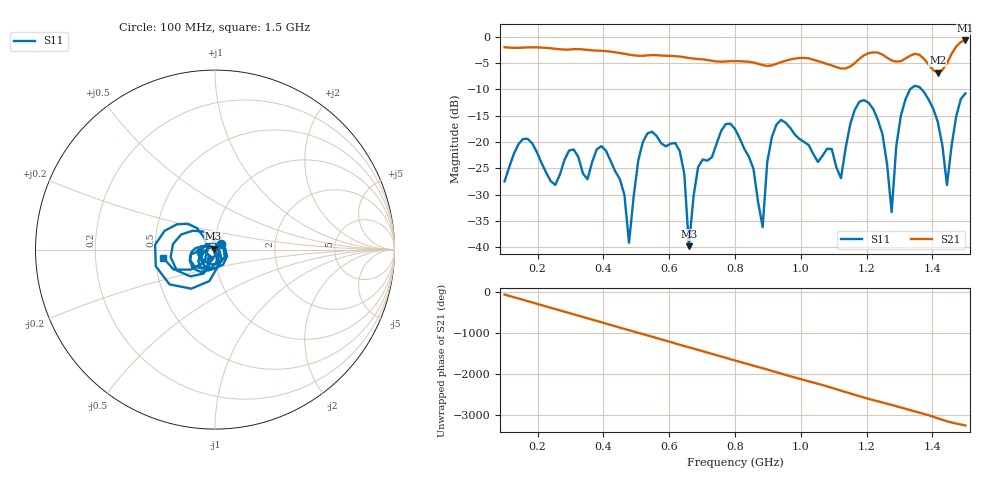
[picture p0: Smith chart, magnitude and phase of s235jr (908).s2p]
! NanoVNA-App
! Date: 2025-09-25 15:11:14
! Start: 100MHz Stop: 1,5GHz Points: 101
! S-Parameter data: F S11 S21 S12 S22
# Hz S RI R 50
!  Frequency  S11_Real  S11_Imag  S21_Real  S21_Imag  S12_Real  S12_Imag  S22_Real  S22_Imag
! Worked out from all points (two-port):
!   101 points, 100 MHz to 1.5 GHz, reference 50 ohm
!   highest |S21| = -0.68 dB at 1.5 GHz (marker M1); lowest = -6.8 dB at 1.416 GHz (marker M2)
!   |S21| within 3 dB of the highest: start of sweep to 620.5 MHz; 1.188 GHz to 1.255 GHz (67.06 MHz wide, 5.49 % of centre) (the widest 2 of 4)
!   lowest |S11| = -39.8 dB at 660 MHz (marker M3), VSWR 1.02, Z = 49.2 + j0.59 ohm
!   |S11| at or under -10 dB: start of sweep to 1.331 GHz; 1.367 GHz to end of sweep
!   S12 and S22 are empty: the file has one direction only
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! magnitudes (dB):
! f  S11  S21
! 100 MHz  -27.5  -2.0
! 156 MHz  -19.4  -2.0
! 338 MHz  -26.0  -2.4
! 408 MHz  -21.7  -2.7
! 478 MHz  -39.1  -3.4
! 520 MHz  -20.0  -3.6
! 576 MHz  -20.2  -3.5
! 632 MHz  -21.7  -3.7
! 660 MHz  -39.8  -4.0
! 688 MHz  -24.7  -4.2
! 800 MHz  -17.5  -4.6
! 884 MHz  -36.2  -5.4
! 926 MHz  -16.7  -5.1
! 1.038 GHz  -22.3  -4.3
! 1.122 GHz  -26.9  -6.0
! 1.206 GHz  -12.5  -3.1
! 1.276 GHz  -33.3  -4.5
! 1.29 GHz  -20.8  -4.7
! 1.332 GHz  -9.9  -3.6
! 1.416 GHz  -16.1  -6.8
! 1.444 GHz  -28.2  -5.1
! 1.5 GHz  -10.7  -0.7
